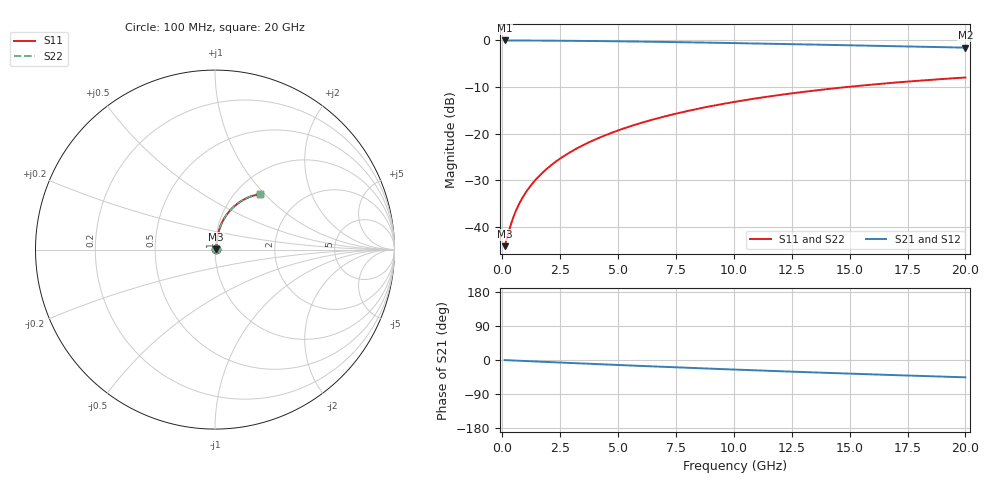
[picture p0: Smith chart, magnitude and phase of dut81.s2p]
! Touchstone file exported from HFSS 2024.1.0
!  File:  C:/UserFiles/LocalFiles/RDL_TSV_Batchsim/temp_RDL_bottom_81_1778694323.aedt
!  Generated:  01:47:53 AM May 14, 2026
!  Design:  RDL_bottom
!  Project:  temp_RDL_bottom_81_1778694323
!  Setup:  Setup1
!  Solution:  Sweep
! Variables:
!  dtsv = 10.80580581um
!  hbump = 3um
!  htsv = 95.79um
!  ldown = 668.72um
!  lrdl = 100um
!  p = 40
!  p1 = 40.81um
!  rhole = 1um
!  t = 450um
!  tdown = 2.28um
!  trdl = 3.915915916um
!  wdown = 18.59um
!  wrdl = 20um
# GHz S MA R 50.000000
! Terminal data exported
! Port[1] = RDL1_T1
! Port[2] = RDL1_T2
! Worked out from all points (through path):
!   200 points, 100 MHz to 20 GHz, reference 50 ohm
!   highest |S21| = -0.05 dB at 100 MHz (marker M1); lowest = -1.6 dB at 20 GHz (marker M2)
!   group delay of S21, straight-line fit = 6.34 ps
!   lowest |S11| = -44.0 dB at 100 MHz (marker M3), VSWR 1.01, Z = 50.6 + j0.242 ohm
!   |S11| at or under -10 dB: start of sweep to 14.9 GHz
!   |S22| runs from -44.0 to -8.0 dB; largest |S21 - S12| = 8.4e-15
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0.1  0.006274 22.4  0.9942 -0.3  0.9942 -0.3  0.006274 22.4
! Gamma 0 0 0 0
! Port Impedance 50 0 50 0
0.4  0.01125 55.6  0.9936 -1.1  0.9936 -1.1  0.01125 55.6
0.5  0.01323 60.1  0.9933 -1.4  0.9933 -1.4  0.01323 60.1
0.6  0.01523 63.4  0.9931 -1.7  0.9931 -1.7  0.01523 63.4
0.7  0.01723 65.9  0.9928 -1.9  0.9928 -1.9  0.01723 65.9
0.9  0.02125 69.4  0.9923 -2.5  0.9923 -2.5  0.02125 69.4
1.2  0.0273 72.9  0.9915 -3.3  0.9915 -3.3  0.0273 72.9
1.4  0.03137 74.4  0.991 -3.8  0.991 -3.8  0.03137 74.5
1.7  0.03754 76.1  0.9902 -4.6  0.9902 -4.6  0.03754 76.1
2.2  0.04796 77.8  0.9886 -5.9  0.9886 -5.9  0.04796 77.8
2.8  0.06065 78.8  0.9862 -7.5  0.9862 -7.5  0.06065 78.8
3.5  0.07567 79.1  0.9829 -9.3  0.9829 -9.3  0.07568 79.1
4.2  0.09088 78.9  0.979 -11.1  0.979 -11.1  0.0909 79.0
5  0.1085 78.3  0.9739 -13.2  0.9739 -13.2  0.1085 78.3
5.9  0.1284 77.3  0.9675 -15.4  0.9675 -15.4  0.1284 77.3
6.8  0.1484 76.0  0.9605 -17.7  0.9605 -17.7  0.1485 76.0
8.4  0.1838 73.3  0.9469 -21.5  0.9469 -21.5  0.1839 73.4
10.1  0.2206 70.1  0.9311 -25.4  0.9311 -25.4  0.2208 70.2
11.7  0.2541 67.0  0.9156 -29.0  0.9156 -29.0  0.2543 67.0
13.4  0.288 63.6  0.8987 -32.7  0.8987 -32.7  0.2882 63.6
16.7  0.3478 57.1  0.8656 -39.4  0.8656 -39.4  0.3482 57.1
20  0.3994 50.9  0.8332 -45.7  0.8332 -45.7  0.3998 50.9
